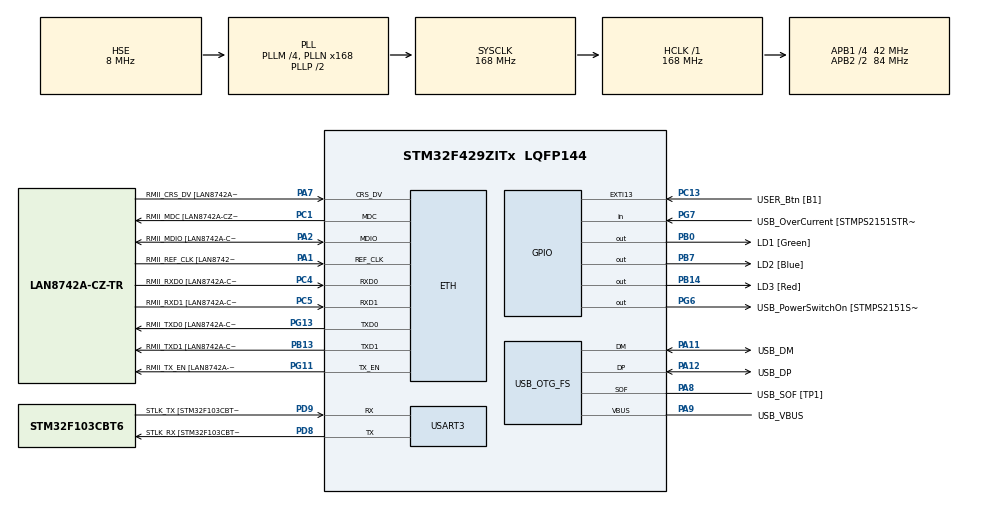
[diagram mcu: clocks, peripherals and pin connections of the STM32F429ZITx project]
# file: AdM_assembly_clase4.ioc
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ETH.MediaInterface=HAL_ETH_RMII_MODE
ETH.PHY_Name=LAN8742A_PHY_ADDRESS
ETH.PHY_Value=0
ETH.PhyAddress=0
Mcu.Family=STM32F4
Mcu.Name=STM32F429ZITx
Mcu.Package=LQFP144
NVIC.PriorityGroup=NVIC_PRIORITYGROUP_4
PA1.GPIO_Label=RMII_REF_CLK [LAN8742A-CZ-TR_REFCLK0]
PA1.Mode=RMII
PA1.Signal=ETH_REF_CLK
PA10.GPIO_Label=USB_ID
PA10.Signal=USB_OTG_FS_ID
PA11.GPIO_Label=USB_DM
PA11.Mode=Device_Only
PA11.Signal=USB_OTG_FS_DM
PA12.GPIO_Label=USB_DP
PA12.Mode=Device_Only
PA12.Signal=USB_OTG_FS_DP
PA13.GPIO_Label=TMS
PA13.Mode=Serial_Wire
PA13.Signal=SYS_JTMS-SWDIO
PA14.GPIO_Label=TCK
PA14.Mode=Serial_Wire
PA14.Signal=SYS_JTCK-SWCLK
PA2.GPIO_Label=RMII_MDIO [LAN8742A-CZ-TR_MDIO]
PA2.Mode=RMII
PA2.Signal=ETH_MDIO
PA7.GPIO_Label=RMII_CRS_DV [LAN8742A-CZ-TR_CRS_DV]
PA7.Mode=RMII
PA7.Signal=ETH_CRS_DV
PA8.GPIO_Label=USB_SOF [TP1]
PA8.Mode=Activate_SOF_FS
PA8.Signal=USB_OTG_FS_SOF
PA9.GPIO_Label=USB_VBUS
PA9.Mode=Activate_VBUS
PA9.Signal=USB_OTG_FS_VBUS
PB0.GPIO_Label=LD1 [Green]
PB0.Signal=GPIO_Output
PB13.GPIO_Label=RMII_TXD1 [LAN8742A-CZ-TR_TXD1]
PB13.Mode=RMII
PB13.Signal=ETH_TXD1
PB14.GPIO_Label=LD3 [Red]
PB14.Signal=GPIO_Output
PB7.GPIO_Label=LD2 [Blue]
PB7.Signal=GPIO_Output
PC1.GPIO_Label=RMII_MDC [LAN8742A-CZ-TR_MDC]
PC1.Mode=RMII
PC1.Signal=ETH_MDC
PC13.GPIO_Label=USER_Btn [B1]
PC13.Signal=GPXTI13
PC14/OSC32_IN.Mode=LSE-External-Oscillator
PC14/OSC32_IN.Signal=RCC_OSC32_IN
PC15/OSC32_OUT.Mode=LSE-External-Oscillator
PC15/OSC32_OUT.Signal=RCC_OSC32_OUT
PC4.GPIO_Label=RMII_RXD0 [LAN8742A-CZ-TR_RXD0]
PC4.Mode=RMII
PC4.Signal=ETH_RXD0
PC5.GPIO_Label=RMII_RXD1 [LAN8742A-CZ-TR_RXD1]
PC5.Mode=RMII
PC5.Signal=ETH_RXD1
PD8.GPIO_Label=STLK_RX [STM32F103CBT6_PA3]
PD8.Mode=Asynchronous
PD8.Signal=USART3_TX
PD9.GPIO_Label=STLK_TX [STM32F103CBT6_PA2]
PD9.Mode=Asynchronous
PD9.Signal=USART3_RX
PG11.GPIO_Label=RMII_TX_EN [LAN8742A-CZ-TR_TXEN]
PG11.Mode=RMII
PG11.Signal=ETH_TX_EN
PG13.GPIO_Label=RMII_TXD0 [LAN8742A-CZ-TR_TXD0]
PG13.Mode=RMII
PG13.Signal=ETH_TXD0
PG6.GPIO_Label=USB_PowerSwitchOn [STMPS2151STR_EN]
PG6.Signal=GPIO_Output
PG7.GPIO_Label=USB_OverCurrent [STMPS2151STR_FAULT]
PG7.Signal=GPIO_Input
PH0/OSC_IN.GPIO_Label=MCO [STM32F103CBT6_PA8]
PH0/OSC_IN.Mode=HSE-External-Clock-Source
PH0/OSC_IN.Signal=RCC_OSC_IN
PH1/OSC_OUT.Mode=HSE-External-Clock-Source
PH1/OSC_OUT.Signal=RCC_OSC_OUT
ProjectManager.HeapSize=0x200
ProjectManager.StackSize=0x400
ProjectManager.TargetToolchain=STM32CubeIDE
RCC.48MHZClocksFreq_Value=48000000
RCC.AHBFreq_Value=168000000
RCC.APB1CLKDivider=RCC_HCLK_DIV4
RCC.APB1Freq_Value=42000000
RCC.APB1TimFreq_Value=84000000
RCC.APB2CLKDivider=RCC_HCLK_DIV2
RCC.APB2Freq_Value=84000000
RCC.APB2TimCLKDivider=2
RCC.APB2TimFreq_Value=168000000
RCC.CortexFreq_Value=168000000
RCC.HCLKFreq_Value=168000000
RCC.HSE_VALUE=8000000
RCC.HSI_VALUE=16000000
RCC.PLLM=4
RCC.PLLMUL=RCC_PLL_MUL9
RCC.PLLN=168
RCC.PLLQ=7
RCC.PRESCALERUSB=RCC_USBCLKSOURCE_PLL_DIV1_5
RCC.SYSCLKFreq_VALUE=168000000
RCC.SYSCLKSource=RCC_SYSCLKSOURCE_PLLCLK
RCC.SYSCLKSourceVirtual=RCC_SYSCLKSOURCE_PLLCLK
RCC.USBFreq_Value=48000000
RCC.VCOOutputFreq_Value=336000000
USART3.VirtualMode=VM_ASYNC
USB_OTG_FS.VirtualMode=Device_Only
board=NUCLEO-F429ZI

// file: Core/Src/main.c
/* USER CODE BEGIN Header */
/**
  ******************************************************************************
  * @file           : main.c
  * @brief          : Main program body
  ******************************************************************************
  * @attention
  *
  * Copyright (c) 2024 STMicroelectronics.
  * All rights reserved.
  *
  * This software is licensed under terms that can be found in the LICENSE file
  * in the root directory of this software component.
  * If no LICENSE file comes with this software, it is provided AS-IS.
  *
  ******************************************************************************
  */
/* USER CODE END Header */
#include "main.h"
#include "string.h"

/* USER CODE BEGIN Includes */
#include "asm_func.h" // incluir header del archivo en assembly
/* USER CODE END Includes */

/* USER CODE BEGIN PM */

#define TEST 1 // testear solo funcion correspondiente

/* USER CODE END PM */

ETH_TxPacketConfig TxConfig;
ETH_DMADescTypeDef  DMARxDscrTab[ETH_RX_DESC_CNT]; /* Ethernet Rx DMA Descriptors */
ETH_DMADescTypeDef  DMATxDscrTab[ETH_TX_DESC_CNT]; /* Ethernet Tx DMA Descriptors */

ETH_HandleTypeDef heth;

UART_HandleTypeDef huart3;

PCD_HandleTypeDef hpcd_USB_OTG_FS;

void SystemClock_Config(void);
static void MX_GPIO_Init(void);
static void MX_ETH_Init(void);
static void MX_USART3_UART_Init(void);
static void MX_USB_OTG_FS_PCD_Init(void);

int main(void)
{

  /* USER CODE BEGIN 1 */

    if(1==TEST){
	/* ----------- Función asm_sum ----------- */
	uint32_t a, b, c;
	a = 9;
	b = 5;
	c = asm_sum(a, b);
	/* ----------- Función asm_sum ----------- */

	/* ----------- Función asm_stack ----------- */
	uint32_t d, e, f;
	d = 10;
	e = 1234;
	f = 5678;
	asm_stack(a, b, c, d, e, f);
	/* ----------- Función asm_stack ----------- */
    }

    if(2==TEST){
	/* ----------- Función asm_svc ----------- */
	// Ejecución paso a paso:
	// Vemos el contenido del registro control:
	uint32_t x = __get_CONTROL();
	// Seteamos el valor en cero (vamos al modo no privilegiado)
	x |= 1;
	__set_CONTROL(x); // Ver en la pestaña Register el valor de control
	// Intentamos volver al modo privilegiado:
	x &= ~1;
	__set_CONTROL(x); // Ver en la pestaña Register el valor de control
	// Como la escritura del registro es ignorada, se debe disparar una excepción:
	asm_svc();
	/* ----------- Función asm_svc ----------- */
    }

    if(3==TEST){

    }

    if(4==TEST){
	/* ----------- Función zeros ----------- */
	uint32_t lon = 10;
	//uint32_t vector[lon];
	uint32_t vector2[lon];
	//zeros(vector, lon);
	asm_zeros(vector2, lon);
	/* ----------- Función zeros ----------- */
    }

    if(5==TEST){
	/* ----------- Función bitfield_clear ----------- */
	uint32_t dato, resultado, inicio, ancho;
	dato = 1023;
	inicio = 3;
	ancho = 5;
	resultado = bitfield_clear(dato, ancho, inicio);
	/* ----------- Función bitfield_clear ----------- */
    }

    if(6==TEST){
	/* -----------  Funcion productoEscalar32  ----------- */
	//const uint32_t longitud = 5;
	uint32_t vectorIn[] = {1,2,3,4,5};
	const uint32_t longitud = sizeof(vectorIn)/sizeof(vectorIn[0]);
	uint32_t vectorOut[longitud];
	uint16_t escalar = 2;
	productoEscalar32( vectorIn, vectorOut, longitud, escalar);
	/* -----------  Funcion productoEscalar32  ----------- */
    }

    if(7==TEST){
	/* -----------  Funcion productoEscalar12  ----------- */
	// 16 bit uint max = 65,535
	// 12 bit uint max = 4096
	uint16_t vectorIn2[] = {1,20,300,4000,50000};
	const uint32_t longitud2 = sizeof(vectorIn2)/sizeof(vectorIn2[0]);
	uint16_t vectorOut2[longitud2];
	uint16_t escalar2 = 2;
	productoEscalar12( vectorIn2, vectorOut2, longitud2, escalar2);
    /* -----------  Funcion productoEscalar32  ----------- */

	uint16_t a = 1; // debug stop, checkear valores vectorOut
    }

  /* USER CODE END 1 */

  /* MCU Configuration--------------------------------------------------------*/

  /* Reset of all peripherals, Initializes the Flash interface and the Systick. */
  HAL_Init();

  /* Configure the system clock */
  SystemClock_Config();

  /* Initialize all configured peripherals */
  MX_GPIO_Init();
  MX_ETH_Init();
  MX_USART3_UART_Init();
  MX_USB_OTG_FS_PCD_Init();

  /* Infinite loop */
  while (1)
  {

  }
}

void SystemClock_Config(void)
{
  RCC_OscInitTypeDef RCC_OscInitStruct = {0};
  RCC_ClkInitTypeDef RCC_ClkInitStruct = {0};

  /** Configure the main internal regulator output voltage
  */
  __HAL_RCC_PWR_CLK_ENABLE();
  __HAL_PWR_VOLTAGESCALING_CONFIG(PWR_REGULATOR_VOLTAGE_SCALE1);

  /** Initializes the RCC Oscillators according to the specified parameters
  * in the RCC_OscInitTypeDef structure.
  */
  RCC_OscInitStruct.OscillatorType = RCC_OSCILLATORTYPE_HSE;
  RCC_OscInitStruct.HSEState = RCC_HSE_BYPASS;
  RCC_OscInitStruct.PLL.PLLState = RCC_PLL_ON;
  RCC_OscInitStruct.PLL.PLLSource = RCC_PLLSOURCE_HSE;
  RCC_OscInitStruct.PLL.PLLM = 4;
  RCC_OscInitStruct.PLL.PLLN = 168;
  RCC_OscInitStruct.PLL.PLLP = RCC_PLLP_DIV2;
  RCC_OscInitStruct.PLL.PLLQ = 7;
  if (HAL_RCC_OscConfig(&RCC_OscInitStruct) != HAL_OK)
  {
    Error_Handler();
  }

  /** Initializes the CPU, AHB and APB buses clocks
  */
  RCC_ClkInitStruct.ClockType = RCC_CLOCKTYPE_HCLK|RCC_CLOCKTYPE_SYSCLK
                              |RCC_CLOCKTYPE_PCLK1|RCC_CLOCKTYPE_PCLK2;
  RCC_ClkInitStruct.SYSCLKSource = RCC_SYSCLKSOURCE_PLLCLK;
  RCC_ClkInitStruct.AHBCLKDivider = RCC_SYSCLK_DIV1;
  RCC_ClkInitStruct.APB1CLKDivider = RCC_HCLK_DIV4;
  RCC_ClkInitStruct.APB2CLKDivider = RCC_HCLK_DIV2;

  if (HAL_RCC_ClockConfig(&RCC_ClkInitStruct, FLASH_LATENCY_5) != HAL_OK)
  {
    Error_Handler();
  }
}

static void MX_ETH_Init(void)
{

   static uint8_t MACAddr[6];

  heth.Instance = ETH;
  MACAddr[0] = 0x00;
  MACAddr[1] = 0x80;
  MACAddr[2] = 0xE1;
  MACAddr[3] = 0x00;
  MACAddr[4] = 0x00;
  MACAddr[5] = 0x00;
  heth.Init.MACAddr = &MACAddr[0];
  heth.Init.MediaInterface = HAL_ETH_RMII_MODE;
  heth.Init.TxDesc = DMATxDscrTab;
  heth.Init.RxDesc = DMARxDscrTab;
  heth.Init.RxBuffLen = 1524;

  if (HAL_ETH_Init(&heth) != HAL_OK)
  {
    Error_Handler();
  }

  memset(&TxConfig, 0 , sizeof(ETH_TxPacketConfig));
  TxConfig.Attributes = ETH_TX_PACKETS_FEATURES_CSUM | ETH_TX_PACKETS_FEATURES_CRCPAD;
  TxConfig.ChecksumCtrl = ETH_CHECKSUM_IPHDR_PAYLOAD_INSERT_PHDR_CALC;
  TxConfig.CRCPadCtrl = ETH_CRC_PAD_INSERT;

}

static void MX_USART3_UART_Init(void)
{

  huart3.Instance = USART3;
  huart3.Init.BaudRate = 115200;
  huart3.Init.WordLength = UART_WORDLENGTH_8B;
  huart3.Init.StopBits = UART_STOPBITS_1;
  huart3.Init.Parity = UART_PARITY_NONE;
  huart3.Init.Mode = UART_MODE_TX_RX;
  huart3.Init.HwFlowCtl = UART_HWCONTROL_NONE;
  huart3.Init.OverSampling = UART_OVERSAMPLING_16;
  if (HAL_UART_Init(&huart3) != HAL_OK)
  {
    Error_Handler();
  }

}

static void MX_USB_OTG_FS_PCD_Init(void)
{

  hpcd_USB_OTG_FS.Instance = USB_OTG_FS;
  hpcd_USB_OTG_FS.Init.dev_endpoints = 4;
  hpcd_USB_OTG_FS.Init.speed = PCD_SPEED_FULL;
  hpcd_USB_OTG_FS.Init.dma_enable = DISABLE;
  hpcd_USB_OTG_FS.Init.phy_itface = PCD_PHY_EMBEDDED;
  hpcd_USB_OTG_FS.Init.Sof_enable = ENABLE;
  hpcd_USB_OTG_FS.Init.low_power_enable = DISABLE;
  hpcd_USB_OTG_FS.Init.lpm_enable = DISABLE;
  hpcd_USB_OTG_FS.Init.vbus_sensing_enable = ENABLE;
  hpcd_USB_OTG_FS.Init.use_dedicated_ep1 = DISABLE;
  if (HAL_PCD_Init(&hpcd_USB_OTG_FS) != HAL_OK)
  {
    Error_Handler();
  }

}

static void MX_GPIO_Init(void)
{
  GPIO_InitTypeDef GPIO_InitStruct = {0};

  /* GPIO Ports Clock Enable */
  __HAL_RCC_GPIOC_CLK_ENABLE();
  __HAL_RCC_GPIOH_CLK_ENABLE();
  __HAL_RCC_GPIOA_CLK_ENABLE();
  __HAL_RCC_GPIOB_CLK_ENABLE();
  __HAL_RCC_GPIOD_CLK_ENABLE();
  __HAL_RCC_GPIOG_CLK_ENABLE();

  /*Configure GPIO pin Output Level */
  HAL_GPIO_WritePin(GPIOB, LD1_Pin|LD3_Pin|LD2_Pin, GPIO_PIN_RESET);

  /*Configure GPIO pin Output Level */
  HAL_GPIO_WritePin(USB_PowerSwitchOn_GPIO_Port, USB_PowerSwitchOn_Pin, GPIO_PIN_RESET);

  /*Configure GPIO pin : USER_Btn_Pin */
  GPIO_InitStruct.Pin = USER_Btn_Pin;
  GPIO_InitStruct.Mode = GPIO_MODE_IT_RISING;
  GPIO_InitStruct.Pull = GPIO_NOPULL;
  HAL_GPIO_Init(USER_Btn_GPIO_Port, &GPIO_InitStruct);

  /*Configure GPIO pins : LD1_Pin LD3_Pin LD2_Pin */
  GPIO_InitStruct.Pin = LD1_Pin|LD3_Pin|LD2_Pin;
  GPIO_InitStruct.Mode = GPIO_MODE_OUTPUT_PP;
  GPIO_InitStruct.Pull = GPIO_NOPULL;
  GPIO_InitStruct.Speed = GPIO_SPEED_FREQ_LOW;
  HAL_GPIO_Init(GPIOB, &GPIO_InitStruct);

  /*Configure GPIO pin : USB_PowerSwitchOn_Pin */
  GPIO_InitStruct.Pin = USB_PowerSwitchOn_Pin;
  GPIO_InitStruct.Mode = GPIO_MODE_OUTPUT_PP;
  GPIO_InitStruct.Pull = GPIO_NOPULL;
  GPIO_InitStruct.Speed = GPIO_SPEED_FREQ_LOW;
  HAL_GPIO_Init(USB_PowerSwitchOn_GPIO_Port, &GPIO_InitStruct);

  /*Configure GPIO pin : USB_OverCurrent_Pin */
  GPIO_InitStruct.Pin = USB_OverCurrent_Pin;
  GPIO_InitStruct.Mode = GPIO_MODE_INPUT;
  GPIO_InitStruct.Pull = GPIO_NOPULL;
  HAL_GPIO_Init(USB_OverCurrent_GPIO_Port, &GPIO_InitStruct);

}

void Error_Handler(void)
{
  __disable_irq();
  while (1)
  {
  }
}
